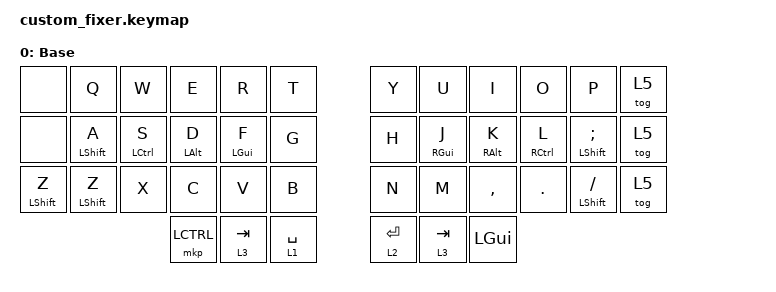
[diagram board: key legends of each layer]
#include <behaviors.dtsi>
#include <dt-bindings/zmk/keys.h>

/ {
    keymap {
        compatible = "zmk,keymap";

        default_layer {
            display-name = "Base";
            bindings = <
            &none   &kp Q  &kp W       &kp E       &kp R       &kp T          &kp Y        &kp U       &kp I       &kp O       &kp P &tog 5
           &none   &mt LSHIFT A   &mt LCTRL S  &mt LALT D  &mt LGUI F  &kp G          &kp H        &mt RGUI J  &mt RALT K  &mt RCTRL L  &mt  LSHIFT SEMI &tog 5
&mt LSHIFT Z  &mt LSHIFT Z  &kp X       &kp C       &kp V       &kp B          &kp N        &kp M       &kp COMMA   &kp DOT     &mt LSHIFT FSLH  &tog 5
                                        &mkp LCTRL   &lt 3 TAB   &lt 1 SPACE    &lt 2 RET  &lt 3 TAB   &kp LGUI
            >;
        };
    };
};
